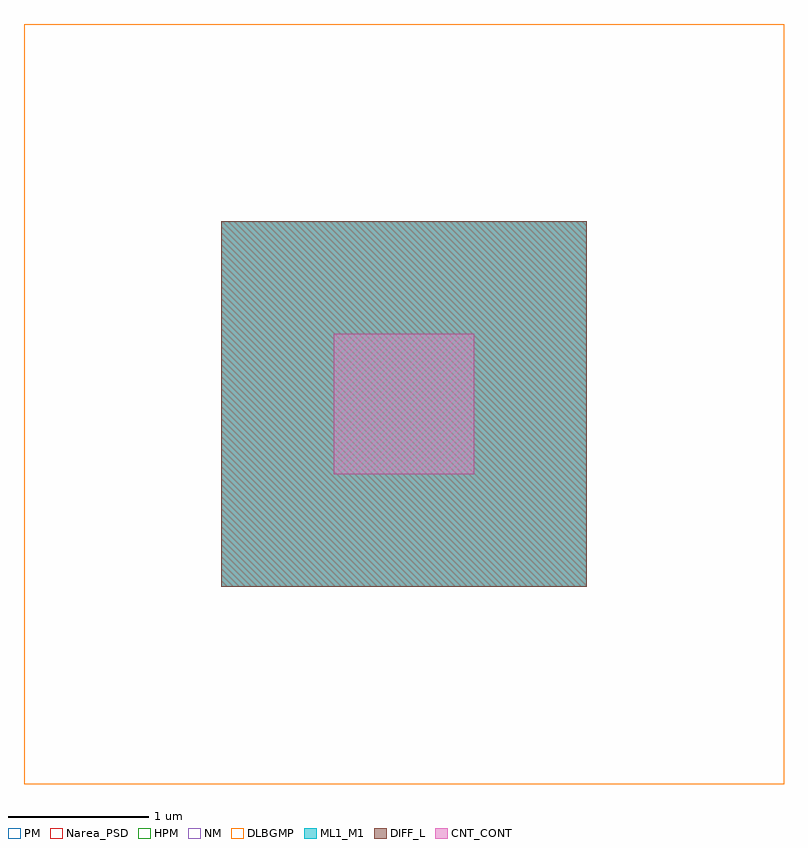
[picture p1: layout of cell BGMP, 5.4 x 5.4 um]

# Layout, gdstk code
import gdstk
lib = gdstk.Library(unit=1e-6, precision=1e-09)
def R(c, l, rs):  # rectangles x0, y0, x1, y1
    for r in rs: c.add(gdstk.rectangle(r[:2], r[2:], *l))
DIFF_L = (3, 0)
NM = (7, 0)
Narea_PSD = (9, 0)
CNT_CONT = (11, 0)
ML1_M1 = (13, 0)
HPM = (33, 0)
PM = (35, 0)
DLBGMP = (177, 0)

dcont = lib.new_cell('DCONT')
R(dcont, DIFF_L, [(-1.3,-1.3,1.3,1.3)])
R(dcont, CNT_CONT, [(-0.5,-0.5,0.5,0.5)])
R(dcont, ML1_M1, [(-1.3,-1.3,1.3,1.3), (-0.5,-0.5,0.5,0.5)])

bgmp = lib.new_cell('BGMP')
R(bgmp, NM, [(-2.7,-2.7,2.7,2.7)])
R(bgmp, Narea_PSD, [(-2.7,-2.7,2.7,2.7)])
R(bgmp, HPM, [(-2.7,-2.7,2.7,2.7)])
R(bgmp, PM, [(-2.7,-2.7,2.7,2.7)])
R(bgmp, DLBGMP, [(-2.7,-2.7,2.7,2.7)])
bgmp.add(gdstk.Reference(dcont, (0,0)))

lib.write_gds('BGMP.gds')
